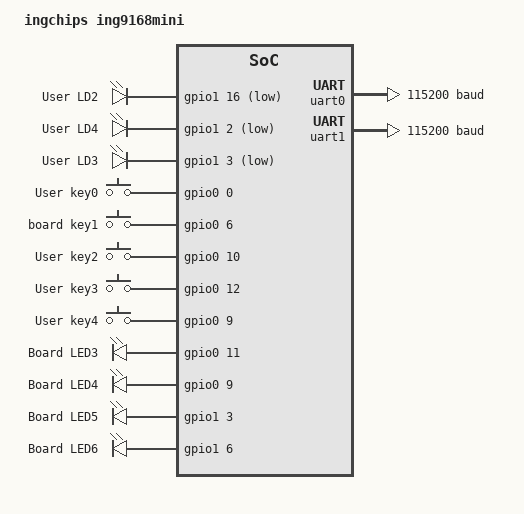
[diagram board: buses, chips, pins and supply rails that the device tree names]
/* SPDX-License-Identifier: Apache-2.0 */

/dts-v1/;

#include <ingchips/ing91682.dtsi>

/ {
	model = "ingchips ing9168mini";
	compatible = "ingchips,ing9168mini";

	aliases {
		led0 = &green_led_1;
		led1 = &red_led_2;
		led2 = &blue_led_3;
		uart-0 = &uart0;
		uart-1 = &uart1;
		key0 = &board_key1;
	};

	chosen {
		zephyr,sram = &sram0;
		zephyr,flash = &flash0;
		zephyr,console = &uart0;
		zephyr,shell-uart = &uart0;
		zephyr,uart-pipe = &uart1;
	};

	leds: leds {
		compatible = "gpio-leds";
		green_led_1: led_1 {
			gpios = <&gpio1 16 1>;
			label = "User LD2";
		};
		red_led_2: led_2 {
			gpios = <&gpio1 2 1>;
			label = "User LD4";
		};
		blue_led_3: led_3 {
			gpios = <&gpio1 3 1>;
			label = "User LD3";
		};
	};

	gpio_keys {
		compatible = "gpio-keys";
		user_button: button {
			label = "User key0";
			gpios = <&gpio0 0 0>;
			zephyr,code = <0>;
		};
		board_key1: key_1 {
			label = "board key1";
			gpios = <&gpio0 6 0>;
			zephyr,code = <1>;
		};
		board_key2: key_2 {
			label = "User key2";
			gpios = <&gpio0 10 0>;
			zephyr,code = <2>;
		};
		board_key3: key_3 {
			label = "User key3";
			gpios = <&gpio0 12 0>;
			zephyr,code = <3>;
		};
		board_key4: key_4 {
			label = "User key4";
			gpios = <&gpio0 9 0>;
			zephyr,code = <4>;
		};
	};

	board_leds: b_leds {
		compatible = "board-gpio-leds";
		board_led3: b_led_3 {
			gpios = <&gpio0 11 0>;
			label = "Board LED3";
		};
		board_led4: b_led_4 {
			gpios = <&gpio0 9 0>;
			label = "Board LED4";
		};
		board_led5: b_led_5 {
			gpios = <&gpio1 3 0>;
			label = "Board LED5";
		};
		board_led6: b_led_6 {
			gpios = <&gpio1 6 0>;
			label = "Board LED6";
		};
	};

};

&uart0 {
	status = "okay";
	current-speed = <115200>;
};

&uart1 {
	status = "okay";
	current-speed = <115200>;
};

&gpio0 {
	status = "okay";
};

//&gpio1 {
//	status = "okay";
//};

// &i2c0 {
// 	pinctrl-0 = <&i2c3_scl_pc0 &i2c3_sda_pc1>;
// 	status = "okay";
// };

